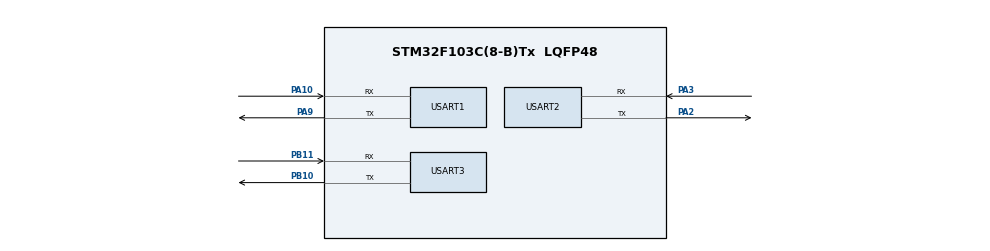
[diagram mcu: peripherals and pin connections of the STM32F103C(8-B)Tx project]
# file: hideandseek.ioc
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Mcu.Family=STM32F1
Mcu.Name=STM32F103C(8-B)Tx
Mcu.Package=LQFP48
NVIC.PriorityGroup=NVIC_PRIORITYGROUP_4
PA10.Mode=Asynchronous
PA10.Signal=USART1_RX
PA2.Mode=Asynchronous
PA2.Signal=USART2_TX
PA3.Mode=Asynchronous
PA3.Signal=USART2_RX
PA9.Mode=Asynchronous
PA9.Signal=USART1_TX
PB10.Mode=Asynchronous
PB10.Signal=USART3_TX
PB11.Mode=Asynchronous
PB11.Signal=USART3_RX
ProjectManager.HeapSize=0x200
ProjectManager.StackSize=0x400
ProjectManager.TargetToolchain=MDK-ARM V5
RCC.APB1Freq_Value=8000000
RCC.APB2Freq_Value=8000000
USART1.VirtualMode=VM_ASYNC
USART2.VirtualMode=VM_ASYNC
USART3.VirtualMode=VM_ASYNC
VP_SYS_VS_ND.Mode=No_Debug
VP_TIM2_VS_ClockSourceINT.Mode=Internal
board=hideandseek

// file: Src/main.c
/**
  ******************************************************************************
  * File Name          : main.c
  * Description        : Main program body
  ******************************************************************************
  ** This notice applies to any and all portions of this file
  * that are not between comment pairs USER CODE BEGIN and
  * USER CODE END. Other portions of this file, whether
  * inserted by the user or by software development tools
  * are owned by their respective copyright owners.
  *
  * COPYRIGHT(c) 2017 STMicroelectronics
  *
  * Redistribution and use in source and binary forms, with or without modification,
  * are permitted provided that the following conditions are met:
  *   1. Redistributions of source code must retain the above copyright notice,
  *      this list of conditions and the following disclaimer.
  *   2. Redistributions in binary form must reproduce the above copyright notice,
  *      this list of conditions and the following disclaimer in the documentation
  *      and/or other materials provided with the distribution.
  *   3. Neither the name of STMicroelectronics nor the names of its contributors
  *      may be used to endorse or promote products derived from this software
  *      without specific prior written permission.
  *
  * THIS SOFTWARE IS PROVIDED BY THE COPYRIGHT HOLDERS AND CONTRIBUTORS "AS IS"
  * AND ANY EXPRESS OR IMPLIED WARRANTIES, INCLUDING, BUT NOT LIMITED TO, THE
  * IMPLIED WARRANTIES OF MERCHANTABILITY AND FITNESS FOR A PARTICULAR PURPOSE ARE
  * DISCLAIMED. IN NO EVENT SHALL THE COPYRIGHT HOLDER OR CONTRIBUTORS BE LIABLE
  * FOR ANY DIRECT, INDIRECT, INCIDENTAL, SPECIAL, EXEMPLARY, OR CONSEQUENTIAL
  * DAMAGES (INCLUDING, BUT NOT LIMITED TO, PROCUREMENT OF SUBSTITUTE GOODS OR
  * SERVICES; LOSS OF USE, DATA, OR PROFITS; OR BUSINESS INTERRUPTION) HOWEVER
  * CAUSED AND ON ANY THEORY OF LIABILITY, WHETHER IN CONTRACT, STRICT LIABILITY,
  * OR TORT (INCLUDING NEGLIGENCE OR OTHERWISE) ARISING IN ANY WAY OUT OF THE USE
  * OF THIS SOFTWARE, EVEN IF ADVISED OF THE POSSIBILITY OF SUCH DAMAGE.
  *
  ******************************************************************************
  */

#include "main.h"
#include "stm32f1xx_hal.h"
#include "string.h"

TIM_HandleTypeDef htim2;

UART_HandleTypeDef huart1;
UART_HandleTypeDef huart2;
UART_HandleTypeDef huart3;

/* USER CODE BEGIN PV */
/* Private variables ---------------------------------------------------------*/
char* bufftr = "Hello\n\r";
/* USER CODE END PV */

void SystemClock_Config(void);
static void MX_GPIO_Init(void);
static void MX_USART1_UART_Init(void);
static void MX_USART2_UART_Init(void);
static void MX_USART3_UART_Init(void);
static void MX_TIM2_Init(void);

/* USER CODE BEGIN PFP */
/* Private function prototypes -----------------------------------------------*/

/* USER CODE END PFP */

void uartPrint(UART_HandleTypeDef *huart, char _out[]){
 HAL_UART_Transmit(huart, (uint8_t *) _out, strlen(_out), 10);
}

void uartPrintln(UART_HandleTypeDef *huart, char _out[]){
 HAL_UART_Transmit(huart, (uint8_t *) _out, strlen(_out), 10);
 char newline[2] = "\r\n";
 HAL_UART_Transmit(huart, (uint8_t *) newline, 2, 10);
}

int main(void)
{

  /* MCU Configuration----------------------------------------------------------*/

  /* Reset of all peripherals, Initializes the Flash interface and the Systick. */
  HAL_Init();

  /* Configure the system clock */
  SystemClock_Config();

  /* Initialize all configured peripherals */
  MX_GPIO_Init();
  MX_USART1_UART_Init();
  MX_USART2_UART_Init();
  MX_USART3_UART_Init();
  MX_TIM2_Init();

  /* USER CODE BEGIN 2 */
	//__HAL_UART_ENABLE_IT(&huart2, UART_IT_TC);

  /* USER CODE END 2 */

/* USER CODE BEGIN 4 */
  /* Infinite loop */
  /* USER CODE BEGIN WHILE */
  while (1)
  {
		 char in[8];
		 HAL_UART_Receive(&huart2, (uint8_t *)in, 255, 1000);
		 uartPrint(&huart2, "\n");
		 uartPrintln(&huart2, in);
		 memset(in, 0, sizeof in);
  /* USER CODE END WHILE */

  /* USER CODE BEGIN 3 */

  }
  /* USER CODE END 3 */

}

/** System Clock Configuration
*/
void SystemClock_Config(void)
{

  RCC_OscInitTypeDef RCC_OscInitStruct;
  RCC_ClkInitTypeDef RCC_ClkInitStruct;

    /**Initializes the CPU, AHB and APB busses clocks
    */
  RCC_OscInitStruct.OscillatorType = RCC_OSCILLATORTYPE_HSI;
  RCC_OscInitStruct.HSIState = RCC_HSI_ON;
  RCC_OscInitStruct.HSICalibrationValue = 16;
  RCC_OscInitStruct.PLL.PLLState = RCC_PLL_NONE;
  if (HAL_RCC_OscConfig(&RCC_OscInitStruct) != HAL_OK)
  {
    _Error_Handler(__FILE__, __LINE__);
  }

    /**Initializes the CPU, AHB and APB busses clocks
    */
  RCC_ClkInitStruct.ClockType = RCC_CLOCKTYPE_HCLK|RCC_CLOCKTYPE_SYSCLK
                              |RCC_CLOCKTYPE_PCLK1|RCC_CLOCKTYPE_PCLK2;
  RCC_ClkInitStruct.SYSCLKSource = RCC_SYSCLKSOURCE_HSI;
  RCC_ClkInitStruct.AHBCLKDivider = RCC_SYSCLK_DIV1;
  RCC_ClkInitStruct.APB1CLKDivider = RCC_HCLK_DIV1;
  RCC_ClkInitStruct.APB2CLKDivider = RCC_HCLK_DIV1;

  if (HAL_RCC_ClockConfig(&RCC_ClkInitStruct, FLASH_LATENCY_0) != HAL_OK)
  {
    _Error_Handler(__FILE__, __LINE__);
  }

    /**Configure the Systick interrupt time
    */
  HAL_SYSTICK_Config(HAL_RCC_GetHCLKFreq()/1000);

    /**Configure the Systick
    */
  HAL_SYSTICK_CLKSourceConfig(SYSTICK_CLKSOURCE_HCLK);

  /* SysTick_IRQn interrupt configuration */
  HAL_NVIC_SetPriority(SysTick_IRQn, 0, 0);
}

/* TIM2 init function */
static void MX_TIM2_Init(void)
{

  TIM_ClockConfigTypeDef sClockSourceConfig;
  TIM_MasterConfigTypeDef sMasterConfig;

  htim2.Instance = TIM2;
  htim2.Init.Prescaler = 0;
  htim2.Init.CounterMode = TIM_COUNTERMODE_UP;
  htim2.Init.Period = 0;
  htim2.Init.ClockDivision = TIM_CLOCKDIVISION_DIV1;
  htim2.Init.AutoReloadPreload = TIM_AUTORELOAD_PRELOAD_DISABLE;
  if (HAL_TIM_Base_Init(&htim2) != HAL_OK)
  {
    _Error_Handler(__FILE__, __LINE__);
  }

  sClockSourceConfig.ClockSource = TIM_CLOCKSOURCE_INTERNAL;
  if (HAL_TIM_ConfigClockSource(&htim2, &sClockSourceConfig) != HAL_OK)
  {
    _Error_Handler(__FILE__, __LINE__);
  }

  sMasterConfig.MasterOutputTrigger = TIM_TRGO_RESET;
  sMasterConfig.MasterSlaveMode = TIM_MASTERSLAVEMODE_DISABLE;
  if (HAL_TIMEx_MasterConfigSynchronization(&htim2, &sMasterConfig) != HAL_OK)
  {
    _Error_Handler(__FILE__, __LINE__);
  }

}

/* USART1 init function */
static void MX_USART1_UART_Init(void)
{

  huart1.Instance = USART1;
  huart1.Init.BaudRate = 115200;
  huart1.Init.WordLength = UART_WORDLENGTH_8B;
  huart1.Init.StopBits = UART_STOPBITS_1;
  huart1.Init.Parity = UART_PARITY_NONE;
  huart1.Init.Mode = UART_MODE_TX_RX;
  huart1.Init.HwFlowCtl = UART_HWCONTROL_NONE;
  huart1.Init.OverSampling = UART_OVERSAMPLING_16;
  if (HAL_UART_Init(&huart1) != HAL_OK)
  {
    _Error_Handler(__FILE__, __LINE__);
  }

}

/* USART2 init function */
static void MX_USART2_UART_Init(void)
{

  huart2.Instance = USART2;
  huart2.Init.BaudRate = 9600;
  huart2.Init.WordLength = UART_WORDLENGTH_8B;
  huart2.Init.StopBits = UART_STOPBITS_1;
  huart2.Init.Parity = UART_PARITY_NONE;
  huart2.Init.Mode = UART_MODE_TX_RX;
  huart2.Init.HwFlowCtl = UART_HWCONTROL_NONE;
  huart2.Init.OverSampling = UART_OVERSAMPLING_16;
  if (HAL_UART_Init(&huart2) != HAL_OK)
  {
    _Error_Handler(__FILE__, __LINE__);
  }

}

/* USART3 init function */
static void MX_USART3_UART_Init(void)
{

  huart3.Instance = USART3;
  huart3.Init.BaudRate = 115200;
  huart3.Init.WordLength = UART_WORDLENGTH_8B;
  huart3.Init.StopBits = UART_STOPBITS_1;
  huart3.Init.Parity = UART_PARITY_NONE;
  huart3.Init.Mode = UART_MODE_TX_RX;
  huart3.Init.HwFlowCtl = UART_HWCONTROL_NONE;
  huart3.Init.OverSampling = UART_OVERSAMPLING_16;
  if (HAL_UART_Init(&huart3) != HAL_OK)
  {
    _Error_Handler(__FILE__, __LINE__);
  }

}

/** Pinout Configuration
*/
static void MX_GPIO_Init(void)
{

  /* GPIO Ports Clock Enable */
  __HAL_RCC_GPIOA_CLK_ENABLE();
  __HAL_RCC_GPIOB_CLK_ENABLE();

}

/* USER CODE BEGIN 4 */

/* USER CODE END 4 */

void _Error_Handler(char * file, int line)
{
  while(1)
  {
  }
}

/************************ (C) COPYRIGHT STMicroelectronics *****END OF FILE****/
